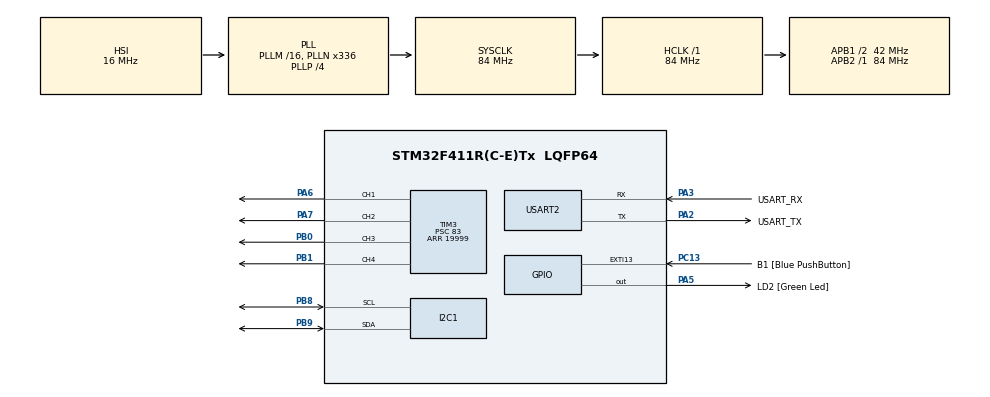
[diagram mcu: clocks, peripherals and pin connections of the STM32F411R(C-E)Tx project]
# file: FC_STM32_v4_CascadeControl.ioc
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I2C1.I2C_Mode=I2C_Fast
Mcu.Family=STM32F4
Mcu.Name=STM32F411R(C-E)Tx
Mcu.Package=LQFP64
NVIC.PriorityGroup=NVIC_PRIORITYGROUP_0
PA13.GPIO_Label=TMS
PA13.Mode=Serial_Wire
PA13.Signal=SYS_JTMS-SWDIO
PA14.GPIO_Label=TCK
PA14.Mode=Serial_Wire
PA14.Signal=SYS_JTCK-SWCLK
PA2.GPIO_Label=USART_TX
PA2.Mode=Asynchronous
PA2.Signal=USART2_TX
PA3.GPIO_Label=USART_RX
PA3.Mode=Asynchronous
PA3.Signal=USART2_RX
PA5.GPIO_Label=LD2 [Green Led]
PA5.Signal=GPIO_Output
PA6.Signal=S_TIM3_CH1
PA7.Signal=S_TIM3_CH2
PB0.Signal=S_TIM3_CH3
PB1.Signal=S_TIM3_CH4
PB3.GPIO_Label=SWO
PB3.Signal=SYS_JTDO-SWO
PB8.Mode=I2C
PB8.Signal=I2C1_SCL
PB9.Mode=I2C
PB9.Signal=I2C1_SDA
PC13-ANTI_TAMP.GPIO_Label=B1 [Blue PushButton]
PC13-ANTI_TAMP.GPIO_ModeDefaultEXTI=GPIO_MODE_IT_FALLING
PC13-ANTI_TAMP.Signal=GPXTI13
PC14-OSC32_IN.Mode=LSE-External-Oscillator
PC14-OSC32_IN.Signal=RCC_OSC32_IN
PC15-OSC32_OUT.Mode=LSE-External-Oscillator
PC15-OSC32_OUT.Signal=RCC_OSC32_OUT
PH0\ -\ OSC_IN.Mode=HSE-External-Clock-Source
PH0\ -\ OSC_IN.Signal=RCC_OSC_IN
PH1\ -\ OSC_OUT.Mode=HSE-External-Clock-Source
PH1\ -\ OSC_OUT.Signal=RCC_OSC_OUT
ProjectManager.HeapSize=0x200
ProjectManager.StackSize=0x400
ProjectManager.TargetToolchain=STM32CubeIDE
RCC.48MHZClocksFreq_Value=84000000
RCC.AHBFreq_Value=84000000
RCC.APB1CLKDivider=RCC_HCLK_DIV2
RCC.APB1Freq_Value=42000000
RCC.APB1TimFreq_Value=84000000
RCC.APB2Freq_Value=84000000
RCC.APB2TimFreq_Value=84000000
RCC.CortexFreq_Value=84000000
RCC.FLatency-AdvancedSettings=FLASH_LATENCY_2
RCC.HCLKFreq_Value=84000000
RCC.HSE_VALUE=8000000
RCC.HSI_VALUE=16000000
RCC.PLLN=336
RCC.PLLP=RCC_PLLP_DIV4
RCC.SYSCLKFreq_VALUE=84000000
RCC.SYSCLKSource=RCC_SYSCLKSOURCE_PLLCLK
RCC.VCOOutputFreq_Value=336000000
SH.S_TIM3_CH1.0=TIM3_CH1,PWM Generation1 CH1
SH.S_TIM3_CH2.0=TIM3_CH2,PWM Generation2 CH2
SH.S_TIM3_CH3.0=TIM3_CH3,PWM Generation3 CH3
SH.S_TIM3_CH4.0=TIM3_CH4,PWM Generation4 CH4
TIM3.Channel-PWM\ Generation1\ CH1=TIM_CHANNEL_1
TIM3.Channel-PWM\ Generation2\ CH2=TIM_CHANNEL_2
TIM3.Channel-PWM\ Generation3\ CH3=TIM_CHANNEL_3
TIM3.Channel-PWM\ Generation4\ CH4=TIM_CHANNEL_4
TIM3.Period=19999
TIM3.Prescaler=83
TIM3.Pulse-PWM\ Generation1\ CH1=1000
TIM3.Pulse-PWM\ Generation2\ CH2=1000
TIM3.Pulse-PWM\ Generation3\ CH3=1000
TIM3.Pulse-PWM\ Generation4\ CH4=1000
USART2.VirtualMode=VM_ASYNC
VP_TIM3_VS_ClockSourceINT.Mode=Internal
board=NUCLEO-F411RE

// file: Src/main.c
/* USER CODE BEGIN Header */
/**
  ******************************************************************************
  * @file           : main.c
  * @brief          : Main program body
  ******************************************************************************
  * @attention
  *
  * <h2><center>&copy; Copyright (c) 2026 STMicroelectronics.
  * All rights reserved.</center></h2>
  *
  * This software component is licensed by ST under BSD 3-Clause license,
  * the "License"; You may not use this file except in compliance with the
  * License. You may obtain a copy of the License at:
  *                        opensource.org/licenses/BSD-3-Clause
  *
  ******************************************************************************
  */
/* USER CODE END Header */

#include "main.h"

/* USER CODE BEGIN Includes */
#include <stdio.h>
#include <string.h>
#include <stdlib.h>
#include "mavlink_telemetry.h"
#include "inertial_sensor.h"
#include "ahrs.h"                   /* v2.2: attitude layer, separate from IMU */
#include "attitude_control.h"
#include "motor_mix.h"

/* USER CODE END Includes */

/* USER CODE BEGIN PD */
#define SCALE1000 10000
#define SCALE100 100
/* USER CODE END PD */

I2C_HandleTypeDef hi2c1;

TIM_HandleTypeDef htim3;

UART_HandleTypeDef huart2;

/* USER CODE BEGIN PV */

/* ─── v3.2 architecture: three independent layers ──────────────
 *   ins  : IMU layer  (raw filtered gyro/accel)        → inertial_sensor.h
 *   ahrs : Attitude layer (roll/pitch from IMU data)   → ahrs.h
 *   pid  : Control layer (commands from attitude error)→ pid.h
 *
 * Data flows strictly downward: ins → ahrs → pid → motors.
 * Each layer can be replaced independently. Mirrors ArduPilot's
 * AP_InertialSensor / AP_AHRS / AC_AttitudeControl split.
 * ──────────────────────────────────────────────────────────── */
InertialSensor_t ins;
AHRS_t           ahrs;
AttitudeControl_t att_ctrl;
MotorOutput_t motors;

#define LOOP_MS      10           /* 10ms loop = 100Hz */
#define DT           (LOOP_MS / 1000.0f)

char uart_buf[128];
uint32_t loop_start;
static uint32_t last_heartbeat_ms = 0;
uint8_t plot_mav_flag = 1;
/* USER CODE END PV */

void SystemClock_Config(void);
static void MX_GPIO_Init(void);
static void MX_USART2_UART_Init(void);
static void MX_I2C1_Init(void);
static void MX_TIM3_Init(void);

int main(void)
{

  /* MCU Configuration--------------------------------------------------------*/

  /* Reset of all peripherals, Initializes the Flash interface and the Systick. */
  HAL_Init();

  /* Configure the system clock */
  SystemClock_Config();

  /* Initialize all configured peripherals */
  MX_GPIO_Init();
  MX_USART2_UART_Init();
  MX_I2C1_Init();
  MX_TIM3_Init();
  /* USER CODE BEGIN 2 */
  HAL_Delay(3000);  /* Let sensor power up before first I2C transaction */

  MAVLink_Init(&huart2);

  /* ─── Layer 1: IMU ── probe and configure the sensor */
  if (IS_Init(&ins, &hi2c1) != HAL_OK) {
      /* No IMU detected — error LED loop */
      while (1) { HAL_GPIO_TogglePin(GPIOA, GPIO_PIN_5); HAL_Delay(200); }
  }

  /* ─── Layer 2: AHRS ── attitude estimator (independent of which sensor) */
  AHRS_Init(&ahrs);

  /* Warning blink before calibration */
  for (int i = 0; i < 3; i++) {
      HAL_GPIO_TogglePin(GPIOA, GPIO_PIN_5); HAL_Delay(1000);
      HAL_GPIO_TogglePin(GPIOA, GPIO_PIN_5); HAL_Delay(1000);
  }

  /* Calibrate — 500 samples × 2ms = 1 second, sensor must be still */
  if (IS_Calibrate(&ins, 500) != HAL_OK) {
      while (1) { HAL_GPIO_TogglePin(GPIOA, GPIO_PIN_5); HAL_Delay(100); }
  }

  /* Signal successful init */
  HAL_GPIO_WritePin(GPIOA, GPIO_PIN_5, GPIO_PIN_SET);

  /* ─── Layer 3: Control ── PID for roll & pitch ───────────────
   *         Kp     Ki     Kd    i_limit  out_limit  */
  AttCtrl_Init(&att_ctrl);
  AttCtrl_SetTarget(&att_ctrl, 0.0f, 0.0f, 0.0f);  /* أضف yaw_rate=0 */

  /* Starts PWM on all 4 channels */
  Motor_Init(&htim3);

  /* USER CODE END 2 */

  /* Infinite loop */
  while (1)
  {

    /* USER CODE BEGIN 3 */
	  loop_start = HAL_GetTick();
	  uint8_t new_data = 0;

	  /* ─── Layer 1: read IMU ─────────────────────────────────
	   * Pulls latest hardware-DLPF-filtered, FIFO-averaged,
	   * IIR-smoothed gyro/accel from the MPU6050 backend. */
	  if (IS_Update(&ins, &new_data) == HAL_OK && new_data) {

	      /* ─── Layer 2: update attitude estimate ────────────
	       * Complementary filter on the freshly read IMU sample. */
	      AHRS_Update(&ahrs, &ins.imu, DT);

	      /* ─── Layer 3: PID control ────────────────────*/
	      float roll_cmd, pitch_cmd, yaw_cmd;
	      AttCtrl_Update(&att_ctrl, &ahrs, &ins.imu, DT,
	                     0.3f,                          /* throttle */
	                     &roll_cmd, &pitch_cmd, &yaw_cmd);

	      Motor_Mix(0.3f, roll_cmd, pitch_cmd, yaw_cmd, &motors);
	      Motor_Write(&htim3, &motors);

	      /* ─── UART output for Python plotter ─────────────
	       * (attitude from ahrs, gyro from ins.imu) */
	      if(plot_mav_flag)
	      {
	    	  int r   = (int)(ahrs.roll_deg  * 100);
	    	  int p   = (int)(ahrs.pitch_deg * 100);
	    	  int y   = (int)(ahrs.yaw_deg   * 100);
	    	  int len = snprintf(uart_buf, sizeof(uart_buf),
	    	            "%c%d.%02d,%c%d.%02d,%c%d.%02d,%u,%u,%u,%u\r\n",
	    	            (ahrs.roll_deg  < 0)?'-':'+', abs(r/100), abs(r%100),
	    	            (ahrs.pitch_deg < 0)?'-':'+', abs(p/100), abs(p%100),
	    	            (ahrs.yaw_deg   < 0)?'-':'+', abs(y/100), abs(y%100),
	    	            motors.m1, motors.m2, motors.m3, motors.m4);
	    	  HAL_UART_Transmit(&huart2, (uint8_t*)uart_buf, len, 50);
	      }
	      else
	      {
	    	  /* ─── MAVLink ATTITUDE @ 100Hz ───────────────────
	    	   * (attitude from ahrs, raw gyro rates from ins.imu) */
	    	 MAVLink_SendAttitude(ahrs.roll_deg, ahrs.pitch_deg, ins.imu.gyro_x_dps, ins.imu.gyro_y_dps);

	    	 /* ─── MAVLink HEARTBEAT @ 1Hz ─────────────────── */
	    	 if (HAL_GetTick() - last_heartbeat_ms >= 1000)
	    	 {
	    	 	MAVLink_SendHeartbeat();
	    	 	last_heartbeat_ms = HAL_GetTick();
	    	 }
	      }

	  }/* end of if (IS_Update && new_data) */

	  /* ─── Precise loop timing — don't use HAL_Delay blindly ── */
	  uint32_t elapsed = HAL_GetTick() - loop_start;
	  if (elapsed < LOOP_MS)
	      HAL_Delay(LOOP_MS - elapsed);

  }/* end of while() */
  /* USER CODE END 3 */
}

void SystemClock_Config(void)
{
  RCC_OscInitTypeDef RCC_OscInitStruct = {0};
  RCC_ClkInitTypeDef RCC_ClkInitStruct = {0};

  /** Configure the main internal regulator output voltage
  */
  __HAL_RCC_PWR_CLK_ENABLE();
  __HAL_PWR_VOLTAGESCALING_CONFIG(PWR_REGULATOR_VOLTAGE_SCALE1);
  /** Initializes the CPU, AHB and APB busses clocks
  */
  RCC_OscInitStruct.OscillatorType = RCC_OSCILLATORTYPE_HSI;
  RCC_OscInitStruct.HSIState = RCC_HSI_ON;
  RCC_OscInitStruct.HSICalibrationValue = RCC_HSICALIBRATION_DEFAULT;
  RCC_OscInitStruct.PLL.PLLState = RCC_PLL_ON;
  RCC_OscInitStruct.PLL.PLLSource = RCC_PLLSOURCE_HSI;
  RCC_OscInitStruct.PLL.PLLM = 16;
  RCC_OscInitStruct.PLL.PLLN = 336;
  RCC_OscInitStruct.PLL.PLLP = RCC_PLLP_DIV4;
  RCC_OscInitStruct.PLL.PLLQ = 4;
  if (HAL_RCC_OscConfig(&RCC_OscInitStruct) != HAL_OK)
  {
    Error_Handler();
  }
  /** Initializes the CPU, AHB and APB busses clocks
  */
  RCC_ClkInitStruct.ClockType = RCC_CLOCKTYPE_HCLK|RCC_CLOCKTYPE_SYSCLK
                              |RCC_CLOCKTYPE_PCLK1|RCC_CLOCKTYPE_PCLK2;
  RCC_ClkInitStruct.SYSCLKSource = RCC_SYSCLKSOURCE_PLLCLK;
  RCC_ClkInitStruct.AHBCLKDivider = RCC_SYSCLK_DIV1;
  RCC_ClkInitStruct.APB1CLKDivider = RCC_HCLK_DIV2;
  RCC_ClkInitStruct.APB2CLKDivider = RCC_HCLK_DIV1;

  if (HAL_RCC_ClockConfig(&RCC_ClkInitStruct, FLASH_LATENCY_2) != HAL_OK)
  {
    Error_Handler();
  }
}

static void MX_I2C1_Init(void)
{

  hi2c1.Instance = I2C1;
  hi2c1.Init.ClockSpeed = 400000;
  hi2c1.Init.DutyCycle = I2C_DUTYCYCLE_2;
  hi2c1.Init.OwnAddress1 = 0;
  hi2c1.Init.AddressingMode = I2C_ADDRESSINGMODE_7BIT;
  hi2c1.Init.DualAddressMode = I2C_DUALADDRESS_DISABLE;
  hi2c1.Init.OwnAddress2 = 0;
  hi2c1.Init.GeneralCallMode = I2C_GENERALCALL_DISABLE;
  hi2c1.Init.NoStretchMode = I2C_NOSTRETCH_DISABLE;
  if (HAL_I2C_Init(&hi2c1) != HAL_OK)
  {
    Error_Handler();
  }

}

static void MX_TIM3_Init(void)
{

  TIM_ClockConfigTypeDef sClockSourceConfig = {0};
  TIM_MasterConfigTypeDef sMasterConfig = {0};
  TIM_OC_InitTypeDef sConfigOC = {0};

  htim3.Instance = TIM3;
  htim3.Init.Prescaler = 83;
  htim3.Init.CounterMode = TIM_COUNTERMODE_UP;
  htim3.Init.Period = 19999;
  htim3.Init.ClockDivision = TIM_CLOCKDIVISION_DIV1;
  htim3.Init.AutoReloadPreload = TIM_AUTORELOAD_PRELOAD_DISABLE;
  if (HAL_TIM_Base_Init(&htim3) != HAL_OK)
  {
    Error_Handler();
  }
  sClockSourceConfig.ClockSource = TIM_CLOCKSOURCE_INTERNAL;
  if (HAL_TIM_ConfigClockSource(&htim3, &sClockSourceConfig) != HAL_OK)
  {
    Error_Handler();
  }
  if (HAL_TIM_PWM_Init(&htim3) != HAL_OK)
  {
    Error_Handler();
  }
  sMasterConfig.MasterOutputTrigger = TIM_TRGO_RESET;
  sMasterConfig.MasterSlaveMode = TIM_MASTERSLAVEMODE_DISABLE;
  if (HAL_TIMEx_MasterConfigSynchronization(&htim3, &sMasterConfig) != HAL_OK)
  {
    Error_Handler();
  }
  sConfigOC.OCMode = TIM_OCMODE_PWM1;
  sConfigOC.Pulse = 1000;
  sConfigOC.OCPolarity = TIM_OCPOLARITY_HIGH;
  sConfigOC.OCFastMode = TIM_OCFAST_DISABLE;
  if (HAL_TIM_PWM_ConfigChannel(&htim3, &sConfigOC, TIM_CHANNEL_1) != HAL_OK)
  {
    Error_Handler();
  }
  if (HAL_TIM_PWM_ConfigChannel(&htim3, &sConfigOC, TIM_CHANNEL_2) != HAL_OK)
  {
    Error_Handler();
  }
  if (HAL_TIM_PWM_ConfigChannel(&htim3, &sConfigOC, TIM_CHANNEL_3) != HAL_OK)
  {
    Error_Handler();
  }
  if (HAL_TIM_PWM_ConfigChannel(&htim3, &sConfigOC, TIM_CHANNEL_4) != HAL_OK)
  {
    Error_Handler();
  }
  HAL_TIM_MspPostInit(&htim3);

}

static void MX_USART2_UART_Init(void)
{

  huart2.Instance = USART2;
  huart2.Init.BaudRate = 115200;
  huart2.Init.WordLength = UART_WORDLENGTH_8B;
  huart2.Init.StopBits = UART_STOPBITS_1;
  huart2.Init.Parity = UART_PARITY_NONE;
  huart2.Init.Mode = UART_MODE_TX_RX;
  huart2.Init.HwFlowCtl = UART_HWCONTROL_NONE;
  huart2.Init.OverSampling = UART_OVERSAMPLING_16;
  if (HAL_UART_Init(&huart2) != HAL_OK)
  {
    Error_Handler();
  }

}

static void MX_GPIO_Init(void)
{
  GPIO_InitTypeDef GPIO_InitStruct = {0};

  /* GPIO Ports Clock Enable */
  __HAL_RCC_GPIOC_CLK_ENABLE();
  __HAL_RCC_GPIOH_CLK_ENABLE();
  __HAL_RCC_GPIOA_CLK_ENABLE();
  __HAL_RCC_GPIOB_CLK_ENABLE();

  /*Configure GPIO pin Output Level */
  HAL_GPIO_WritePin(LD2_GPIO_Port, LD2_Pin, GPIO_PIN_RESET);

  /*Configure GPIO pin : B1_Pin */
  GPIO_InitStruct.Pin = B1_Pin;
  GPIO_InitStruct.Mode = GPIO_MODE_IT_FALLING;
  GPIO_InitStruct.Pull = GPIO_NOPULL;
  HAL_GPIO_Init(B1_GPIO_Port, &GPIO_InitStruct);

  /*Configure GPIO pin : LD2_Pin */
  GPIO_InitStruct.Pin = LD2_Pin;
  GPIO_InitStruct.Mode = GPIO_MODE_OUTPUT_PP;
  GPIO_InitStruct.Pull = GPIO_NOPULL;
  GPIO_InitStruct.Speed = GPIO_SPEED_FREQ_LOW;
  HAL_GPIO_Init(LD2_GPIO_Port, &GPIO_InitStruct);

}

void Error_Handler(void)
{
}

/************************ (C) COPYRIGHT STMicroelectronics *****END OF FILE****/
